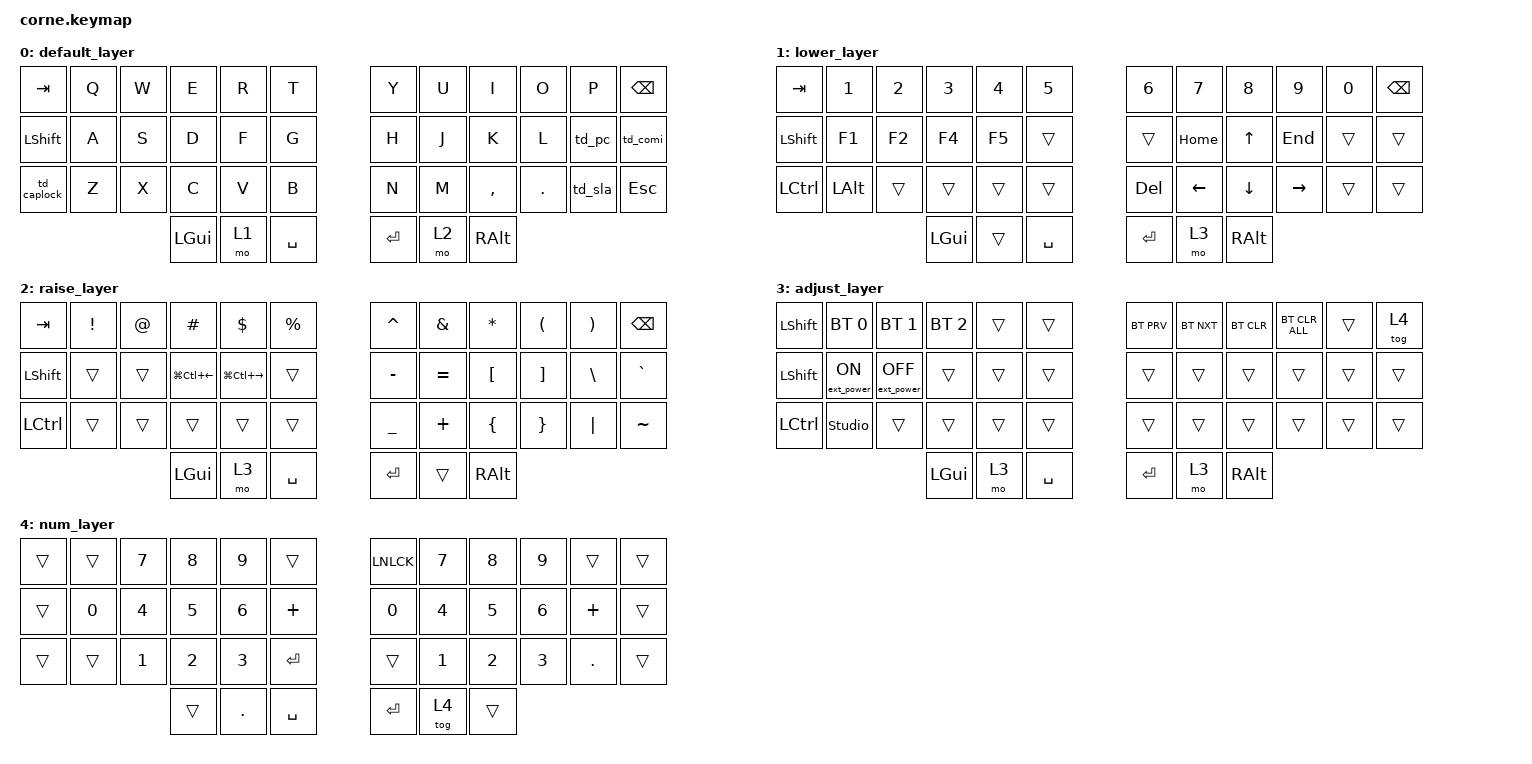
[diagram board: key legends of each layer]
/*
  * Copyright (c) 2020 The ZMK Contributors
  *
  * SPDX-License-Identifier: MIT
  */
 
 #include <behaviors.dtsi>
 #include <dt-bindings/zmk/keys.h>
 #include <dt-bindings/zmk/bt.h>
 #include <dt-bindings/zmk/ext_power.h>

 / {

          behaviors {   
                
                tog_on: toggle_layer_on_only {
            compatible = "zmk,behavior-toggle-layer";
            #binding-cells = <1>;
            display-name = "Toggle Layer On";
            toggle-mode = "on";
        };

        //td_pc
        td_pc: tap_dance_0  {
            compatible = "zmk,behavior-tap-dance";
            #binding-cells = <0>;
            tapping-term-ms = <200>;
            bindings =  <&kp SEMI>, <&kp COLON>;
        };
     
        td_comi: tap_dance_1  {
            compatible = "zmk,behavior-tap-dance";
            #binding-cells = <0>;
            tapping-term-ms = <200>;
            bindings = <&kp SQT>, <&kp DQT>;
        };

        td_sla: tap_dance_2  {
            compatible = "zmk,behavior-tap-dance";
            #binding-cells = <0>;
            tapping-term-ms = <200>;
            bindings = <&kp FSLH>, <&kp QMARK>;
        };

        td_caplock: tap_dance_3  {
            compatible = "zmk,behavior-tap-dance";
            #binding-cells = <0>;
            tapping-term-ms = <200>;
            bindings =  <&kp LCTRL>, <&kp CAPS>;
        };

    };

         keymap {
                 compatible = "zmk,keymap";
 
                 default_layer {
 // -----------------------------------------------------------------------------------------
 // |  TAB |  Q  |  W  |  E  |  R  |  T  |   |  Y  |  U   |  I  |  O  |  P  | BSPC |
 // | CTRL |  A  |  S  |  D  |  F  |  G  |   |  H  |  J   |  K  |  L  |  ;  |  '   |
 // | SHFT |  Z  |  X  |  C  |  V  |  B  |   |  N  |  M   |  ,  |  .  |  /  | ESC  |
 //                    | GUI | LWR | SPC |   | ENT | RSE  | ALT |
                         bindings = <
    &kp TAB   &kp Q &kp W &kp E &kp R &kp T   &kp Y &kp U  &kp I     &kp O   &kp P    &kp BSPC
    &kp LSHFT  &kp A &kp S &kp D &kp F &kp G   &kp H &kp J  &kp K     &kp L   &td_pc   &td_comi
    &td_caplock  &kp Z &kp X &kp C &kp V &kp B   &kp N &kp M  &kp COMMA &kp DOT  &td_sla &kp ESC
                   &kp LGUI &mo 1 &kp SPACE   &kp RET &mo 2 &kp RALT
                         >;
                 };
                 lower_layer {
        bindings = <
            &kp TAB   &kp N1   &kp N2   &kp N3   &kp N4   &kp N5          &kp N6   &kp N7   &kp N8   &kp N9   &kp N0   &kp BSPC
            &kp LSHFT &kp F1   &kp F2   &kp F4   &kp F5   &trans          &trans   &kp HOME &kp UP   &kp END  &trans   &trans
           &kp LCTRL &kp LALT &trans   &trans   &trans   &trans          &kp DEL  &kp LEFT &kp DOWN &kp RIGHT &trans   &trans
                                    &kp LGUI   &trans   &kp SPACE   &kp RET   &mo 3    &kp RALT
        >;
                 };
 
                 raise_layer {
        bindings = <
            &kp TAB    &kp EXCL  &kp AT    &kp HASH  &kp DLLR  &kp PRCNT    &kp CARET  &kp AMPS   &kp ASTRK  &kp LPAR  &kp RPAR  &kp BSPC
            &kp LSHFT  &trans    &trans    &kp LG(LC(LEFT))    &kp LG(LC(RIGHT))    &trans      &kp MINUS  &kp EQUAL  &kp LBKT   &kp RBKT  &kp BSLH  &kp GRAVE
            &kp LCTRL  &trans    &trans    &trans    &trans    &trans      &kp UNDER  &kp PLUS   &kp LBRC   &kp RBRC  &kp PIPE  &kp TILDE
                                     &kp LGUI   &mo 3    &kp SPACE   &kp RET   &trans    &kp RALT
        >;
                 };

        adjust_layer {
                bindings = <
                &kp LSHFT  &bt BT_SEL 0  &bt BT_SEL 1  &bt BT_SEL 2  &trans        &trans        &bt BT_PRV   &bt BT_NXT   &bt BT_CLR  &bt BT_CLR_ALL   &trans  &tog 4
               &kp LSHFT &ext_power EP_ON        &ext_power EP_OFF        &trans        &trans        &trans        &trans       &trans       &trans      &trans      &trans      &trans
                &kp LCTRL &studio_unlock       &trans        &trans        &trans        &trans        &trans       &trans       &trans      &trans      &trans      &trans
                                        &kp LGUI     &mo 3         &kp SPACE       &kp RET       &mo 3        &kp RALT
                >;
        };

        num_layer {
                bindings = <
                &trans  &trans   &kp N7   &kp N8   &kp N9    &trans       &kp LNLCK   &kp N7   &kp N8   &kp N9    &trans   &trans
                &trans  &kp N0   &kp N4   &kp N5   &kp N6   &kp PLUS         &kp N0  &kp N4   &kp N5   &kp N6   &kp PLUS    &trans
                &trans  &trans   &kp N1   &kp N2   &kp N3   &kp ENTER       &trans  &kp N1   &kp N2   &kp N3   &kp DOT   &trans
                                        &trans     &kp DOT   &kp SPACE        &kp RET  &tog 4   &trans
                >;
           };

         };
 };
